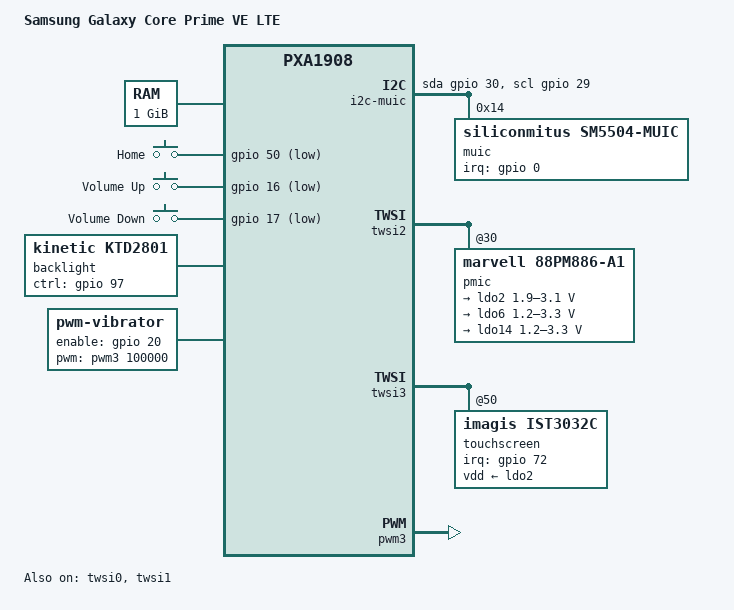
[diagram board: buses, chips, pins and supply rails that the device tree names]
// SPDX-License-Identifier: GPL-2.0-only
#include "pxa1908.dtsi"
#include <dt-bindings/gpio/gpio.h>
#include <dt-bindings/input/linux-event-codes.h>

/ {
	model = "Samsung Galaxy Core Prime VE LTE";
	compatible = "samsung,coreprimevelte", "marvell,pxa1908";

	aliases {
		mmc0 = &sdh2; /* eMMC */
		mmc1 = &sdh0; /* SD card */
		mmc2 = &sdh1; /* SDIO */
		serial0 = &uart0;
	};

	chosen {
		#address-cells = <2>;
		#size-cells = <2>;
		ranges;

		stdout-path = "serial0:115200n8";

		fb0: framebuffer@17177000 {
			compatible = "simple-framebuffer";
			reg = <0 0x17177000 0 (480 * 800 * 4)>;
			power-domains = <&apmu PXA1908_POWER_DOMAIN_DSI>;
			width = <480>;
			height = <800>;
			stride = <(480 * 4)>;
			format = "a8r8g8b8";
		};
	};

	memory@0 {
		device_type = "memory";
		reg = <0 0 0 0x40000000>;
	};

	reserved-memory {
		/*
		 * Reserved by the vendor bootloader as a "secure region".
		 *
		 * TODO: See if the responsible stage of the bootloader can be
		 * replaced
		 */
		secure-region@0 {
			reg = <0 0 0 0x1000000>;
		};

		framebuffer@17000000 {
			reg = <0 0x17000000 0 0x1800000>;
			no-map;
		};
	};

	i2c-muic {
		compatible = "i2c-gpio";
		sda-gpios = <&gpio 30 (GPIO_ACTIVE_HIGH|GPIO_OPEN_DRAIN)>;
		scl-gpios = <&gpio 29 (GPIO_ACTIVE_HIGH|GPIO_OPEN_DRAIN)>;
		i2c-gpio,delay-us = <3>;
		i2c-gpio,timeout-ms = <100>;
		#address-cells = <1>;
		#size-cells = <0>;
		pinctrl-names = "default";
		pinctrl-0 = <&i2c_muic_pins>;

		muic: extcon@14 {
			compatible = "siliconmitus,sm5504-muic";
			reg = <0x14>;
			interrupt-parent = <&gpio>;
			interrupts = <0 IRQ_TYPE_EDGE_FALLING>;

			usb_con: connector {
				compatible = "usb-b-connector";
				label = "micro-USB";
				type = "micro";
			};
		};
	};

	gpio-keys {
		compatible = "gpio-keys";
		pinctrl-names = "default";
		pinctrl-0 = <&gpio_keys_pins>;
		autorepeat;

		key-home {
			label = "Home";
			linux,code = <KEY_HOME>;
			gpios = <&gpio 50 GPIO_ACTIVE_LOW>;
		};

		key-volup {
			label = "Volume Up";
			linux,code = <KEY_VOLUMEUP>;
			gpios = <&gpio 16 GPIO_ACTIVE_LOW>;
		};

		key-voldown {
			label = "Volume Down";
			linux,code = <KEY_VOLUMEDOWN>;
			gpios = <&gpio 17 GPIO_ACTIVE_LOW>;
		};
	};

	backlight {
		compatible = "kinetic,ktd2801";
		ctrl-gpios = <&gpio 97 GPIO_ACTIVE_HIGH>;
		max-brightness = <210>;
	};

	vibrator {
		compatible = "pwm-vibrator";
		pwm-names = "enable";
		pwms = <&pwm3 100000>;
		enable-gpios = <&gpio 20 GPIO_ACTIVE_HIGH>;
		pinctrl-names = "default";
		pinctrl-0 = <&vibrator_pin>;
	};
};

&smmu {
	status = "okay";
};

&pmx {
	pinctrl-single,gpio-range = <&range 55 55 0>,
				    <&range 110 32 0>,
				    <&range 52 1 0>;

	pinctrl-names = "default";
	pinctrl-0 = <&board_pins_0 &board_pins_1 &board_pins_2>;

	board_pins_0: board-pins-0 {
		pinctrl-single,pins = <
			0x160 0
			0x164 0
			0x168 0
			0x16c 0
		>;
		pinctrl-single,drive-strength = <0x1000 0x1800>;
		pinctrl-single,bias-pullup = <0x8000 0x8000 0 0xc000>;
		pinctrl-single,bias-pulldown = <0x8000 0x8000 0 0xa000>;
		pinctrl-single,input-schmitt = <0 0x30>;
		pinctrl-single,input-schmitt-enable = <0x40 0 0x40 0x40>;
		pinctrl-single,low-power-mode = <0x288 0x388>;
	};

	board_pins_1: board-pins-1 {
		pinctrl-single,pins = <
			0x44 1
			0x48 1
			0x20 1
			0x18 1
			0x14 1
			0x10 1
			0xc 1
			0x8 1
			0x68 1
			0x58 0
			0x54 0
			0x7c 0
			0x6c 0
			0x70 0
			0x4c 1
			0x50 1
			0xac 0
			0x90 0
			0x8c 0
			0x88 0
			0x84 0
			0xc8 0
			0x128 0
			0x190 0
			0x194 0
			0x1a0 0
			0x114 0
			0x118 0
			0x1d8 0
			0x1e4 0
			0xe8 0
			0x100 0
			0x204 0
			0x210 0
			0x218 0
		>;
		pinctrl-single,bias-pullup = <0xc000 0xc000 0 0xc000>;
		pinctrl-single,bias-pulldown = <0x8000 0xa000 0x8000 0xc000>;
		pinctrl-single,low-power-mode = <0x288 0x388>;
	};

	board_pins_2: board-pins-2 {
		pinctrl-single,pins = <
			0x260 0
			0x264 0
			0x268 0
			0x26c 0
			0x270 0
			0x274 0
			0x78 0
			0x74 0
			0xb0 1
		>;
		pinctrl-single,drive-strength = <0x1000 0x1800>;
		pinctrl-single,bias-pullup = <0 0xc000 0 0xc000>;
		pinctrl-single,bias-pulldown = <0 0xa000 0 0xa000>;
		pinctrl-single,input-schmitt = <0 0x30>;
		pinctrl-single,input-schmitt-enable = <0x40 0 0x40 0x40>;
		pinctrl-single,low-power-mode = <0 0x388>;
	};

	uart0_pins: uart0-pins {
		pinctrl-single,pins = <
			0x198 6
			0x19c 6
		>;
		pinctrl-single,drive-strength = <0x1000 0x1800>;
		pinctrl-single,bias-pullup = <0 0xc000 0 0xc000>;
		pinctrl-single,bias-pulldown = <0 0xa000 0 0xa000>;
		pinctrl-single,input-schmitt = <0 0x30>;
		pinctrl-single,input-schmitt-enable = <0x40 0 0x40 0x40>;
		pinctrl-single,low-power-mode = <0 0x388>;
	};

	gpio_keys_pins: gpio-keys-pins {
		pinctrl-single,pins = <
			0x11c 0
			0x120 0
			0x1a4 0
		>;
		pinctrl-single,drive-strength = <0x1000 0x1800>;
		pinctrl-single,bias-pullup = <0xc000 0xc000 0 0xc000>;
		pinctrl-single,bias-pulldown = <0x8000 0xa0000 0x8000 0xa000>;
		pinctrl-single,input-schmitt = <0 0x30>;
		pinctrl-single,input-schmitt-enable = <0x40 0 0x40 0x40>;
		pinctrl-single,low-power-mode = <0 0x388>;
	};

	i2c_muic_pins: i2c-muic-pins {
		pinctrl-single,pins = <
			0x154 0
			0x150 0
		>;
		pinctrl-single,drive-strength = <0x1000 0x1800>;
		pinctrl-single,bias-pullup = <0 0xc000 0 0xc000>;
		pinctrl-single,bias-pulldown = <0 0xa000 0 0xa000>;
		pinctrl-single,input-schmitt = <0 0x30>;
		pinctrl-single,input-schmitt-enable = <0x40 0 0x40 0x40>;
		pinctrl-single,low-power-mode = <0x288 0x388>;
	};

	sdh0_pins_0: sdh0-pins-0 {
		pinctrl-single,pins = <
			0x108 0
		>;
		pinctrl-single,drive-strength = <0x1000 0x1800>;
		pinctrl-single,bias-pullup = <0xc000 0xc000 0 0xc000>;
		pinctrl-single,bias-pulldown = <0x8000 0xa000 0x8000 0xa000>;
		pinctrl-single,input-schmitt = <0 0x30>;
		pinctrl-single,input-schmitt-enable = <0x40 0 0x40 0x40>;
		pinctrl-single,low-power-mode = <0 0x388>;
	};

	sdh0_pins_1: sdh0-pins-1 {
		pinctrl-single,pins = <
			0x94 0
			0x98 0
			0x9c 0
			0xa0 0
			0xa4 0
		>;
		pinctrl-single,drive-strength = <0x800 0x1800>;
		pinctrl-single,bias-pullup = <0xc000 0xc000 0 0xc000>;
		pinctrl-single,bias-pulldown = <0x8000 0xa000 0x8000 0xa000>;
		pinctrl-single,input-schmitt = <0 0x30>;
		pinctrl-single,input-schmitt-enable = <0x40 0 0x40 0x40>;
		pinctrl-single,low-power-mode = <0 0x388>;
	};

	sdh0_pins_2: sdh0-pins-2 {
		pinctrl-single,pins = <
			0xa8 0
		>;
		pinctrl-single,drive-strength = <0x1000 0x1800>;
		pinctrl-single,bias-pullup = <0 0xc000 0 0xc000>;
		pinctrl-single,bias-pulldown = <0 0xa000 0 0xa000>;
		pinctrl-single,input-schmitt = <0 0x30>;
		pinctrl-single,input-schmitt-enable = <0x40 0 0x40 0x40>;
		pinctrl-single,low-power-mode = <0x208 0x388>;
	};

	sdh1_pins_0: sdh1-pins-0 {
		pinctrl-single,pins = <
			0x170 1
			0x174 1
			0x178 1
			0x17c 1
			0x180 1
		>;
		pinctrl-single,drive-strength = <0x1000 0x1800>;
		pinctrl-single,bias-pullup = <0 0xc000 0 0xc000>;
		pinctrl-single,bias-pulldown = <0 0xa000 0 0xa000>;
		pinctrl-single,input-schmitt = <0 0x30>;
		pinctrl-single,input-schmitt-enable = <0x40 0 0x40 0x40>;
		pinctrl-single,low-power-mode = <0 0x388>;
	};

	sdh1_pins_1: sdh1-pins-1 {
		pinctrl-single,pins = <0x184 1>;
		pinctrl-single,drive-strength = <0 0x1800>;
		pinctrl-single,bias-pullup = <0 0xc000 0 0xc000>;
		pinctrl-single,bias-pulldown = <0 0xa000 0 0xa000>;
		pinctrl-single,input-schmitt = <0 0x30>;
		pinctrl-single,input-schmitt-enable = <0x40 0 0x40 0x40>;
		pinctrl-single,low-power-mode = <0x208 0x388>;
	};

	sdh1_pins_2: sdh1-pins-2 {
		pinctrl-single,pins = <0xec 0>;
		pinctrl-single,drive-strength = <0x1000 0x1800>;
		pinctrl-single,bias-pullup = <0x8000 0x8000 0 0xc000>;
		pinctrl-single,bias-pulldown = <0x8000 0x8000 0 0xa000>;
		pinctrl-single,input-schmitt = <0 0x30>;
		pinctrl-single,input-schmitt-enable = <0x40 0 0x40 0x40>;
		pinctrl-single,low-power-mode = <0 0x388>;
	};

	sdh1_fast_pins_0: sdh1-fast-pins-0 {
		pinctrl-single,pins = <
			0x170 1
			0x174 1
			0x178 1
			0x17c 1
			0x180 1
		>;
		pinctrl-single,drive-strength = <0x1800 0x1800>;
		pinctrl-single,bias-pullup = <0 0xc000 0 0xc000>;
		pinctrl-single,bias-pulldown = <0 0xa000 0 0xa000>;
		pinctrl-single,input-schmitt = <0 0x30>;
		pinctrl-single,input-schmitt-enable = <0x40 0 0x40 0x40>;
		pinctrl-single,low-power-mode = <0 0x388>;
	};

	sdh1_fast_pins_1: sdh1-fast-pins-1 {
		pinctrl-single,pins = <0x184 1>;
		pinctrl-single,drive-strength = <0x1800 0x1800>;
		pinctrl-single,bias-pullup = <0 0xc000 0 0xc000>;
		pinctrl-single,bias-pulldown = <0 0xa000 0 0xa000>;
		pinctrl-single,input-schmitt = <0 0x30>;
		pinctrl-single,input-schmitt-enable = <0x40 0 0x40 0x40>;
		pinctrl-single,low-power-mode = <0x208 0x388>;
	};

	sdh2_pins_0: sdh2-pins-0 {
		pinctrl-single,pins = <
			0x24 1
			0x28 1
			0x2c 1
			0x30 1
			0x34 1
			0x38 1
			0x3c 1
			0x40 1
		>;
		pinctrl-single,drive-strength = <0x1000 0x1800>;
		pinctrl-single,bias-pullup = <0 0xc000 0 0xc000>;
		pinctrl-single,bias-pulldown = <0 0xa000 0 0xa000>;
		pinctrl-single,input-schmitt = <0 0x30>;
		pinctrl-single,input-schmitt-enable = <0x40 0 0x40 0x40>;
		pinctrl-single,low-power-mode = <0 0x388>;
	};

	sdh2_pins_1: sdh2-pins-1 {
		pinctrl-single,pins = <0x64 1>;
		pinctrl-single,drive-strength = <0x1000 0x1800>;
		pinctrl-single,bias-pullup = <0 0xc000 0 0xc000>;
		pinctrl-single,bias-pulldown = <0 0xa000 0 0xa000>;
		pinctrl-single,input-schmitt = <0 0x30>;
		pinctrl-single,input-schmitt-enable = <0x40 0 0x40 0x40>;
		pinctrl-single,low-power-mode = <0x208 0x388>;
	};

	sdh2_pins_2: sdh2-pins-2 {
		pinctrl-single,pins = <0x5c 1>;
		pinctrl-single,bias-pullup = <0xc000 0xc000 0 0xc000>;
		pinctrl-single,bias-pulldown = <0x8000 0xa000 0x8000 0xa000>;
		pinctrl-single,low-power-mode = <0x288 0x388>;
	};

	sdh2_fast_pins_0: sdh2-fast-pins-0 {
		pinctrl-single,pins = <
			0x24 1
			0x28 1
			0x2c 1
			0x30 1
			0x34 1
			0x38 1
			0x3c 1
			0x40 1
		>;
		pinctrl-single,drive-strength = <0x1800 0x1800>;
		pinctrl-single,bias-pullup = <0 0xc000 0 0xc000>;
		pinctrl-single,bias-pulldown = <0 0xa000 0 0xa000>;
		pinctrl-single,input-schmitt = <0 0x30>;
		pinctrl-single,input-schmitt-enable = <0x40 0 0x40 0x40>;
		pinctrl-single,low-power-mode = <0 0x388>;
	};

	sdh2_fast_pins_1: sdh2-fast-pins-1 {
		pinctrl-single,pins = <0x64 1>;
		pinctrl-single,drive-strength = <0x1800 0x1800>;
		pinctrl-single,bias-pullup = <0 0xc000 0 0xc000>;
		pinctrl-single,bias-pulldown = <0 0xa000 0 0xa000>;
		pinctrl-single,input-schmitt = <0 0x30>;
		pinctrl-single,input-schmitt-enable = <0x40 0 0x40 0x40>;
		pinctrl-single,low-power-mode = <0x208 0x388>;
	};

	sdh2_fast_pins_2: sdh2-fast-pins-2 {
		pinctrl-single,pins = <0x5c 1>;
		pinctrl-single,drive-strength = <0x1800 0x1800>;
		pinctrl-single,bias-pullup = <0xc000 0xc000 0 0xc000>;
		pinctrl-single,bias-pulldown = <0x8000 0xa000 0x8000 0xa000>;
		pinctrl-single,low-power-mode = <0x288 0x388>;
	};

	vibrator_pin: vibrator-pin {
		pinctrl-single,pins = <0x12c 0>;
		pinctrl-single,drive-strength = <0x1000 0x1800>;
		pinctrl-single,bias-pullup = <0x8000 0xc000 0x8000 0xc000>;
		pinctrl-single,bias-pulldown = <0xa000 0xa000 0 0xa000>;
		pinctrl-single,input-schmitt = <0 0x30>;
		pinctrl-single,input-schmitt-enable = <0x40 0 0x40 0x40>;
		pinctrl-single,low-power-mode = <0 0x388>;
	};
};

&uart0 {
	pinctrl-names = "default";
	pinctrl-0 = <&uart0_pins>;
};

&twsi0 {
	status = "okay";
};

&twsi1 {
	status = "okay";
};

&twsi2 {
	status = "okay";

	pmic@30 {
		compatible = "marvell,88pm886-a1";
		reg = <0x30>;
		interrupts = <GIC_SPI 4 IRQ_TYPE_LEVEL_HIGH>;
		wakeup-source;

		regulators {
			ldo2: ldo2 {
				regulator-min-microvolt = <1900000>;
				regulator-max-microvolt = <3100000>;
			};

			ldo6: ldo6 {
				regulator-boot-on;
				regulator-min-microvolt = <1200000>;
				regulator-max-microvolt = <3300000>;
			};

			ldo14: ldo14 {
				regulator-boot-on;
				regulator-min-microvolt = <1200000>;
				regulator-max-microvolt = <3300000>;
			};
		};
	};
};

&twsi3 {
	status = "okay";

	touchscreen@50 {
		compatible = "imagis,ist3032c";
		reg = <0x50>;
		interrupt-parent = <&gpio>;
		interrupts = <72 IRQ_TYPE_EDGE_FALLING>;
		vdd-supply = <&ldo2>;
		touchscreen-size-x = <480>;
		touchscreen-size-y = <800>;
	};
};

&usb {
	extcon = <&muic>, <&muic>;
};

&sdh2 {
	pinctrl-names = "default", "state_uhs";
	pinctrl-0 = <&sdh2_pins_0 &sdh2_pins_1 &sdh2_pins_2>;
	pinctrl-1 = <&sdh2_fast_pins_0 &sdh2_fast_pins_1 &sdh2_fast_pins_2>;
	bus-width = <8>;
	non-removable;
	mmc-ddr-1_8v;
	mmc-hs200-1_8v;
};

&sdh0 {
	pinctrl-names = "default";
	pinctrl-0 = <&sdh0_pins_0 &sdh0_pins_1 &sdh0_pins_2>;
	cd-gpios = <&gpio 11 GPIO_ACTIVE_LOW>;
	bus-width = <4>;
	wp-inverted;
	vmmc-supply = <&ldo14>;
	vqmmc-supply = <&ldo6>;
};

&sdh1 {
	pinctrl-names = "default", "state_uhs";
	pinctrl-0 = <&sdh1_pins_0 &sdh1_pins_1 &sdh1_pins_2>;
	pinctrl-1 = <&sdh1_fast_pins_0 &sdh1_fast_pins_1 &sdh1_pins_2>;
	bus-width = <4>;
	non-removable;
};

&pwm3 {
	status = "okay";
};
